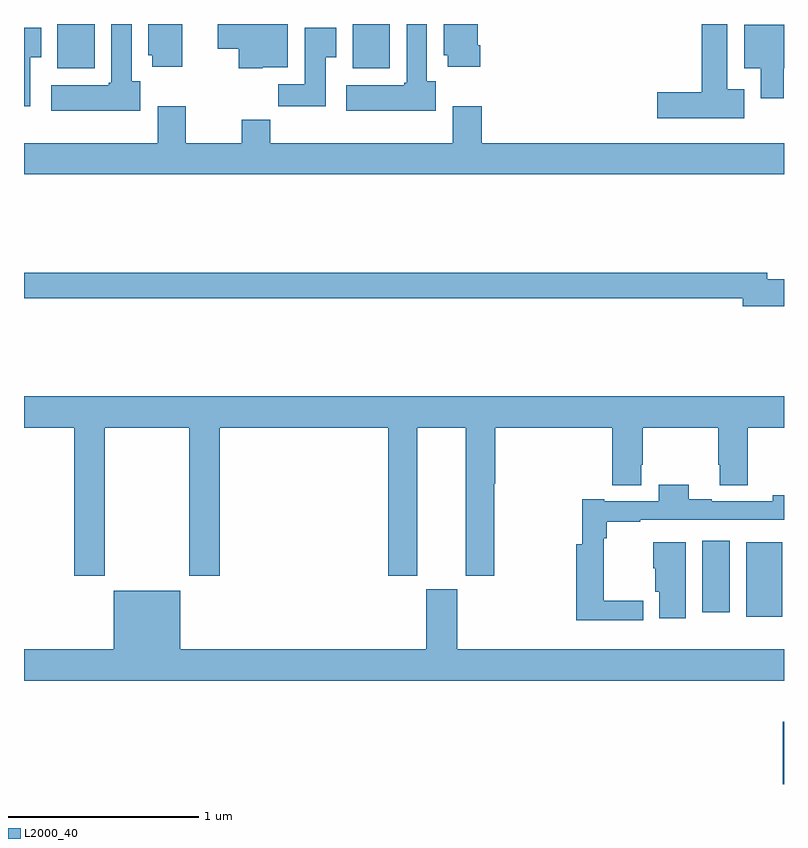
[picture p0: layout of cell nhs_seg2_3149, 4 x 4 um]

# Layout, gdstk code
import gdstk
lib = gdstk.Library(unit=1e-6, precision=1e-09)
def R(c, l, rs):  # rectangles x0, y0, x1, y1
    for r in rs: c.add(gdstk.rectangle(r[:2], r[2:], *l))
def P(c, l, *ps):  # polygons
    for p in ps: c.add(gdstk.Polygon(p, *l))
L2000_40 = (2000, 40)

nhs_seg2_3149 = lib.new_cell('nhs_seg2_3149')
R(nhs_seg2_3149, L2000_40, [(280.994,605.8,281,606.127), (280.802,606.68,280.99,607.072), (280.571,606.705,280.714,607.081), (277.175,609.566,277.372,609.8), (278.729,609.566,278.925,609.8)])
P(nhs_seg2_3149, L2000_40, [(278.256,609.572),(278.389,609.572),(278.389,609.8),(278.019,609.8),(278.019,609.67),(278.131,609.67),(278.131,609.566),(278.256,609.566)],
  [(277.834,609.8),(277.655,609.8),(277.655,609.636),(277.676,609.636),(277.676,609.576),(277.834,609.576)],
  [(279.166,609.498),(279.121,609.498),(279.121,609.8),(279.014,609.8),(279.014,609.492),(279.001,609.492),(279.001,609.478),(278.697,609.478),(278.697,609.344),(279.166,609.344)],
  [(279.401,609.688),(279.388,609.688),(279.388,609.8),(279.209,609.8),(279.209,609.636),(279.23,609.636),(279.23,609.576),(279.401,609.576)],
  [(280.792,609.457),(280.702,609.457),(280.702,609.8),(280.568,609.8),(280.568,609.44),(280.332,609.44),(280.332,609.305),(280.792,609.305)],
  [(277.612,609.498),(277.567,609.498),(277.567,609.8),(277.46,609.8),(277.46,609.492),(277.447,609.492),(277.447,609.478),(277.143,609.478),(277.143,609.344),(277.612,609.344)],
  [(280.999,609.566),(281,609.566),(281,609.796),(280.79,609.796),(280.79,609.566),(280.877,609.566),(280.877,609.408),(280.999,609.408)],
  [(277.033,609.625),(277.09,609.625),(277.09,609.781),(277,609.781),(277,609.366),(277.033,609.366)],
  [(278.587,609.625),(278.644,609.625),(278.644,609.781),(278.477,609.781),(278.477,609.484),(278.338,609.484),(278.338,609.366),(278.587,609.366)],
  [(281,609.172),(279.41,609.172),(279.41,609.367),(279.257,609.367),(279.257,609.172),(278.297,609.172),(278.297,609.296),(278.146,609.296),(278.146,609.172),(277.851,609.172),(277.851,609.367),(277.703,609.367),(277.703,609.172),(277,609.172),(277,609.008),(281,609.008)],
  [(281,608.456),(280.912,608.456),(280.912,608.492),(277,608.492),(277,608.356),(280.784,608.356),(280.784,608.314),(281,608.314)],
  [(277.425,607.676),(277.87,607.676),(277.87,606.897),(278.03,606.897),(278.03,607.676),(278.918,607.676),(278.918,606.897),(279.07,606.897),(279.07,607.676),(279.326,607.676),(279.326,606.897),(279.474,606.897),(279.474,607.38),(279.479,607.38),(279.479,607.676),(280.097,607.676),(280.097,607.372),(280.249,607.372),(280.249,607.48),(280.257,607.48),(280.257,607.676),(280.654,607.676),(280.654,607.48),(280.661,607.48),(280.661,607.372),(280.808,607.372),(280.808,607.676),(281,607.676),(281,607.84),(277,607.84),(277,607.676),(277.265,607.676),(277.265,606.897),(277.425,606.897)],
  [(280.258,606.764),(280.052,606.764),(280.052,607.094),(280.067,607.094),(280.067,607.179),(280.244,607.179),(280.244,607.191),(281,607.191),(281,607.32),(280.941,607.32),(280.941,607.287),(280.621,607.287),(280.621,607.3),(280.498,607.3),(280.498,607.375),(280.34,607.375),(280.34,607.287),(280.054,607.287),(280.054,607.3),(279.939,607.3),(279.939,607.063),(279.907,607.063),(279.907,606.662),(280.258,606.662)],
  [(280.483,607.072),(280.313,607.072),(280.313,606.936),(280.322,606.936),(280.322,606.813),(280.343,606.813),(280.343,606.672),(280.483,606.672)],
  [(281,606.508),(279.28,606.508),(279.28,606.825),(279.116,606.825),(279.116,606.508),(277.822,606.508),(277.822,606.817),(277.472,606.817),(277.472,606.508),(277,606.508),(277,606.344),(281,606.344)])

lib.write_gds('nhs_seg2_3149.gds')
